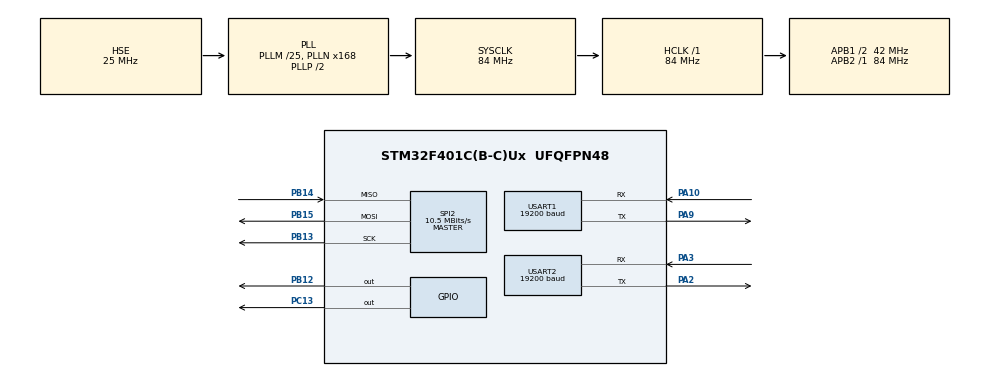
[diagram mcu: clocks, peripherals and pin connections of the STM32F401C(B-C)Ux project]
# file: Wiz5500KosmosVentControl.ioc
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Mcu.Family=STM32F4
Mcu.Name=STM32F401C(B-C)Ux
Mcu.Package=UFQFPN48
NVIC.PriorityGroup=NVIC_PRIORITYGROUP_4
NVIC.USART1_IRQn=true\:0\:0\:false\:false\:true\:true\:true
NVIC.USART2_IRQn=true\:0\:0\:false\:false\:true\:true\:true
PA10.Mode=Asynchronous
PA10.Signal=USART1_RX
PA13.Mode=Serial_Wire
PA13.Signal=SYS_JTMS-SWDIO
PA14.Mode=Serial_Wire
PA14.Signal=SYS_JTCK-SWCLK
PA2.Mode=Asynchronous
PA2.Signal=USART2_TX
PA3.Mode=Asynchronous
PA3.Signal=USART2_RX
PA9.Mode=Asynchronous
PA9.Signal=USART1_TX
PB12.Signal=GPIO_Output
PB13.Mode=Full_Duplex_Master
PB13.Signal=SPI2_SCK
PB14.Mode=Full_Duplex_Master
PB14.Signal=SPI2_MISO
PB15.Mode=Full_Duplex_Master
PB15.Signal=SPI2_MOSI
PC13-ANTI_TAMP.Signal=GPIO_Output
PH0\ -\ OSC_IN.Mode=HSE-External-Oscillator
PH0\ -\ OSC_IN.Signal=RCC_OSC_IN
PH1\ -\ OSC_OUT.Mode=HSE-External-Oscillator
PH1\ -\ OSC_OUT.Signal=RCC_OSC_OUT
ProjectManager.HeapSize=0x200
ProjectManager.StackSize=0x400
ProjectManager.TargetToolchain=STM32CubeIDE
RCC.48MHZClocksFreq_Value=42000000
RCC.AHBFreq_Value=84000000
RCC.APB1CLKDivider=RCC_HCLK_DIV2
RCC.APB1Freq_Value=42000000
RCC.APB1TimFreq_Value=84000000
RCC.APB2Freq_Value=84000000
RCC.APB2TimFreq_Value=84000000
RCC.CortexFreq_Value=84000000
RCC.HCLKFreq_Value=84000000
RCC.HSE_VALUE=25000000
RCC.HSI_VALUE=16000000
RCC.LSE_VALUE=32768
RCC.PLLM=25
RCC.PLLN=168
RCC.PLLSourceVirtual=RCC_PLLSOURCE_HSE
RCC.SYSCLKFreq_VALUE=84000000
RCC.SYSCLKSource=RCC_SYSCLKSOURCE_PLLCLK
RCC.VCOOutputFreq_Value=168000000
SPI2.BaudRatePrescaler=SPI_BAUDRATEPRESCALER_4
SPI2.CalculateBaudRate=10.5 MBits/s
SPI2.Direction=SPI_DIRECTION_2LINES
SPI2.Mode=SPI_MODE_MASTER
SPI2.VirtualType=VM_MASTER
USART1.BaudRate=19200
USART1.VirtualMode=VM_ASYNC
USART2.BaudRate=19200
USART2.VirtualMode=VM_ASYNC
board=custom

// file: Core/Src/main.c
/* USER CODE BEGIN Header */
/**
  ******************************************************************************
  * @file           : main.c
  * @brief          : Main program body
  ******************************************************************************
  * @attention
  *
  * <h2><center>&copy; Copyright (c) 2021 STMicroelectronics.
  * All rights reserved.</center></h2>
  *
  * This software component is licensed by ST under BSD 3-Clause license,
  * the "License"; You may not use this file except in compliance with the
  * License. You may obtain a copy of the License at:
  *                        opensource.org/licenses/BSD-3-Clause
  *
  ******************************************************************************
  */
/* USER CODE END Header */
#include "main.h"
#include "spi.h"
#include "usart.h"
#include "gpio.h"

/* USER CODE BEGIN Includes */
#include "socket.h"
#include "MQTTClient.h"
#include <string.h>
#include <stdlib.h>
#include "dhcp.h"
#include <stdbool.h>
/* USER CODE END Includes */

/* USER CODE BEGIN PD */
//Socket number defines
#define TCP_SOCKET	1
#define DHCP_SOCKET	0
//Receive Buffer Size define
#define BUFFER_SIZE			2048
#define _MODBUS_MES_SIZE	64
#define	_U3_MES_SIZE		10
#define FLG_SETPOINT		1
#define FLG_STATE			2
#define FLG_FAN				3
typedef struct {
	uint16_t rxIndex;
	uint8_t rxBuf[_MODBUS_MES_SIZE];
	uint32_t rxTime;
} myMes;
/* USER CODE END PD */

/* USER CODE BEGIN PV */
//Global variables
uint16_t new_setpoint=0;
uint16_t new_state=0;
uint16_t new_fan =1;
uint8_t flag_arrived=0;
unsigned char targetIP[4] = {194,8,130,147}; // mqtt server IP
unsigned int targetPort = 1883; // mqtt server port
//uint8_t mac_address[6] = {};
wiz_NetInfo gWIZNETINFO = { //.mac = {0x00, 0x08, 0xdc, 0xab, 0xcd, 0xef}, //user MAC
							.mac = {0x00, 0x18, 0x7c, 0x01, 0x9c, 0x2a}, //user MAC
							//.ip = /*{192,168,0,70},//*/{185,126,182,24}, //user IP
							//.sn = {255,255,255,0},
							//.gw = {185,126,182,1},
							.dhcp = NETINFO_DHCP
							};

// 1K should be enough, see https://forum.wiznet.io/t/topic/1612/2
uint8_t dhcp_buffer[1024];
volatile bool ip_assigned = false;

unsigned char tempBuffer[BUFFER_SIZE] = {};

struct opts_struct
{
	char* clientid;
	int nodelimiter;
	char* delimiter;
	enum QoS qos;
	char* username;
	char* password;
	char* host;
	int port;
	int showtopics;
} opts ={ (char*)"stdout-subscriber", 0, (char*)"\n", QOS0, (char*)"kvit", (char*)"20281174", (char*)targetIP, 1883, 0 };
char msg[60];

myMes m1;
myMes m2;
uint8_t b1;
uint8_t b2;

/* USER CODE END PV */

void SystemClock_Config(void);
/* USER CODE BEGIN PFP */
// включить модуль W5500 сигналом SCNn=0
void cs_sel()
{
    HAL_GPIO_WritePin(GPIOB, GPIO_PIN_12, GPIO_PIN_RESET); //CS LOW
}

// выключить модуль W5500 сигналом SCNn=1
void cs_desel()
{
    HAL_GPIO_WritePin(GPIOB, GPIO_PIN_12, GPIO_PIN_SET); //CS HIGH
}

// принять байт через SPI
uint8_t spi_rb(void)
{
    uint8_t rbuf;
    HAL_SPI_Receive(&hspi2, &rbuf, 1, 0xFFFFFFFF);
    return rbuf;
}

// передать байт через SPI
void spi_wb(uint8_t b)
{
    HAL_SPI_Transmit(&hspi2, &b, 1, 0xFFFFFFFF);
}

void W5500_ReadBuff(uint8_t* buff, uint16_t len) {
    HAL_SPI_Receive(&hspi2, buff, len, HAL_MAX_DELAY);
}

void W5500_WriteBuff(uint8_t* buff, uint16_t len) {
    HAL_SPI_Transmit(&hspi2, buff, len, HAL_MAX_DELAY);
}

void Callback_IPAssigned(void) {
    //UART_Printf("Callback: IP assigned! Leased time: %d sec\r\n", getDHCPLeasetime());
    ip_assigned = true;
}

void Callback_IPConflict(void) {
    //UART_Printf("Callback: IP conflict!\r\n");
}

void messageArrived(MessageData* md)
{
	//unsigned char testbuffer[100];
	MQTTMessage* message = md->message;
	char tmp_buf[30];

	memset(tmp_buf,0,30);
	memcpy(tmp_buf, md->topicName->lenstring.data,md->topicName->lenstring.len);
	if(memcmp(tmp_buf, "Vent1/set/setpoint", md->topicName->lenstring.len) == 0)
	{
		memset(tmp_buf,0,30);
		memcpy(tmp_buf, message->payload, message->payloadlen);
		flag_arrived = FLG_SETPOINT;
		new_setpoint = (uint16_t)(atof(tmp_buf)*10);
	}
	else if(memcmp(tmp_buf, "Vent1/set/state", md->topicName->lenstring.len) == 0)
		{
			memset(tmp_buf,0,30);
			memcpy(tmp_buf, message->payload, message->payloadlen);
			flag_arrived = FLG_STATE;
			new_state = (uint16_t)(atof(tmp_buf));
		}
	else if(memcmp(tmp_buf, "Vent1/set/fan", md->topicName->lenstring.len) == 0)
			{
				memset(tmp_buf,0,30);
				memcpy(tmp_buf, message->payload, message->payloadlen);
				flag_arrived = FLG_FAN;
				new_fan = (uint16_t)(atof(tmp_buf));
			}

}

void trace(int nb, const char* buf)
{
	if(nb < 0)
	{
		//HAL_UART_Transmit(&huart1, (uint8_t*)buf, strlen(buf), 0xFFFF);
	}
}
/* USER CODE END PFP */

/* USER CODE BEGIN 0 */
void HAL_UART_RxCpltCallback(UART_HandleTypeDef *UartHandle)
{

	switch((uint32_t)UartHandle->Instance)
	{
		case (uint32_t)USART1:

		  if(m1.rxIndex <_MODBUS_MES_SIZE - 1)
		      {
			  	m1.rxIndex++;
			    HAL_UART_Receive_IT(&huart1, &m1.rxBuf[m1.rxIndex],1);

		      }
		      else
		      {
		    	  HAL_UART_Receive_IT(&huart1, &b1,1);
		      }
		    	m1.rxTime = HAL_GetTick();

		break;

		case (uint32_t)USART2:

				if(m2.rxIndex <_MODBUS_MES_SIZE - 1)
				{
					m2.rxIndex++;
					HAL_UART_Receive_IT(&huart2, &m2.rxBuf[m2.rxIndex],1);

				}
				else
				{
					HAL_UART_Receive_IT(&huart2, &b2,1);
				}
				m2.rxTime = HAL_GetTick();
				//xQueueSendFromISR( RecQHandleHandle, &m, &xHigherPriorityTaskWoken );
		break;

	}
}

uint16_t receiveRaw(UART_HandleTypeDef *huart, uint32_t timeout)
{
  uint32_t startTime = HAL_GetTick();
  while(1)
  {
    if(HAL_GetTick() - startTime > timeout)
      return 0;
    if(huart == &huart1)
    {
    	if((m1.rxIndex > 0) && (HAL_GetTick() - m1.rxTime > 2))
      return m1.rxIndex;
    }
    else if(huart == &huart2)
    {
    	if((m2.rxIndex > 0) && (HAL_GetTick() - m2.rxTime > 2))
      return m2.rxIndex;
    }
    HAL_Delay(1);
  }
}
//////////////CRC CALC/////////////////////
static const uint16_t wCRCTable[] =
{
  0X0000, 0XC0C1, 0XC181, 0X0140, 0XC301, 0X03C0, 0X0280, 0XC241,
  0XC601, 0X06C0, 0X0780, 0XC741, 0X0500, 0XC5C1, 0XC481, 0X0440,
  0XCC01, 0X0CC0, 0X0D80, 0XCD41, 0X0F00, 0XCFC1, 0XCE81, 0X0E40,
  0X0A00, 0XCAC1, 0XCB81, 0X0B40, 0XC901, 0X09C0, 0X0880, 0XC841,
  0XD801, 0X18C0, 0X1980, 0XD941, 0X1B00, 0XDBC1, 0XDA81, 0X1A40,
  0X1E00, 0XDEC1, 0XDF81, 0X1F40, 0XDD01, 0X1DC0, 0X1C80, 0XDC41,
  0X1400, 0XD4C1, 0XD581, 0X1540, 0XD701, 0X17C0, 0X1680, 0XD641,
  0XD201, 0X12C0, 0X1380, 0XD341, 0X1100, 0XD1C1, 0XD081, 0X1040,
  0XF001, 0X30C0, 0X3180, 0XF141, 0X3300, 0XF3C1, 0XF281, 0X3240,
  0X3600, 0XF6C1, 0XF781, 0X3740, 0XF501, 0X35C0, 0X3480, 0XF441,
  0X3C00, 0XFCC1, 0XFD81, 0X3D40, 0XFF01, 0X3FC0, 0X3E80, 0XFE41,
  0XFA01, 0X3AC0, 0X3B80, 0XFB41, 0X3900, 0XF9C1, 0XF881, 0X3840,
  0X2800, 0XE8C1, 0XE981, 0X2940, 0XEB01, 0X2BC0, 0X2A80, 0XEA41,
  0XEE01, 0X2EC0, 0X2F80, 0XEF41, 0X2D00, 0XEDC1, 0XEC81, 0X2C40,
  0XE401, 0X24C0, 0X2580, 0XE541, 0X2700, 0XE7C1, 0XE681, 0X2640,
  0X2200, 0XE2C1, 0XE381, 0X2340, 0XE101, 0X21C0, 0X2080, 0XE041,
  0XA001, 0X60C0, 0X6180, 0XA141, 0X6300, 0XA3C1, 0XA281, 0X6240,
  0X6600, 0XA6C1, 0XA781, 0X6740, 0XA501, 0X65C0, 0X6480, 0XA441,
  0X6C00, 0XACC1, 0XAD81, 0X6D40, 0XAF01, 0X6FC0, 0X6E80, 0XAE41,
  0XAA01, 0X6AC0, 0X6B80, 0XAB41, 0X6900, 0XA9C1, 0XA881, 0X6840,
  0X7800, 0XB8C1, 0XB981, 0X7940, 0XBB01, 0X7BC0, 0X7A80, 0XBA41,
  0XBE01, 0X7EC0, 0X7F80, 0XBF41, 0X7D00, 0XBDC1, 0XBC81, 0X7C40,
  0XB401, 0X74C0, 0X7580, 0XB541, 0X7700, 0XB7C1, 0XB681, 0X7640,
  0X7200, 0XB2C1, 0XB381, 0X7340, 0XB101, 0X71C0, 0X7080, 0XB041,
  0X5000, 0X90C1, 0X9181, 0X5140, 0X9301, 0X53C0, 0X5280, 0X9241,
  0X9601, 0X56C0, 0X5780, 0X9741, 0X5500, 0X95C1, 0X9481, 0X5440,
  0X9C01, 0X5CC0, 0X5D80, 0X9D41, 0X5F00, 0X9FC1, 0X9E81, 0X5E40,
  0X5A00, 0X9AC1, 0X9B81, 0X5B40, 0X9901, 0X59C0, 0X5880, 0X9841,
  0X8801, 0X48C0, 0X4980, 0X8941, 0X4B00, 0X8BC1, 0X8A81, 0X4A40,
  0X4E00, 0X8EC1, 0X8F81, 0X4F40, 0X8D01, 0X4DC0, 0X4C80, 0X8C41,
  0X4400, 0X84C1, 0X8581, 0X4540, 0X8701, 0X47C0, 0X4680, 0X8641,
  0X8201, 0X42C0, 0X4380, 0X8341, 0X4100, 0X81C1, 0X8081, 0X4040
};
uint16_t modbus_crc16(const uint8_t *nData, uint16_t wLength)
{
  uint8_t nTemp;
  uint16_t wCRCWord = 0xFFFF;
  while (wLength--)
  {
    nTemp = *nData++ ^ wCRCWord;
    wCRCWord >>= 8;
    wCRCWord  ^= wCRCTable[nTemp];
  }
  return wCRCWord;
}
/////////////////////////////////
uint8_t set_setpoint(uint16_t setpoint)
{
	if(setpoint < 0 || setpoint > 350)
	{
		return 0;
	}
	uint8_t txData[8];
	uint8_t recByte=0;
	uint8_t equal = 0;
	txData[0] = 0x01;//slave address
	txData[1] = 0x06; // function code
	txData[2] = 0x00;// Hi byte of register address
	txData[3] = 0x90;// Low byte of register address
	txData[4] = (setpoint & 0xFF00) >> 8;// Hi byte of register value
	txData[5] = (setpoint & 0x00FF);// Low byte of register address
	static uint16_t  crc;
	crc = modbus_crc16(txData, 6);
	txData[6] = (crc & 0x00FF);
	txData[7] = (crc & 0xFF00) >> 8;
	HAL_UART_Transmit(&huart2, txData, 8 , 160);
	recByte = receiveRaw(&huart2,100);
	if(recByte==8)
	{

		for(int i=0;i<recByte; ++i)
		{
			if(m2.rxBuf[i] != txData[i])
			{
				equal = 1;
				break;
			}
		}
	}
	m2.rxIndex = 0;
	HAL_UART_Receive_IT(&huart2, &m2.rxBuf[m2.rxIndex],1);
	return equal;
}
uint8_t set_state(uint16_t state)
{
	if(state < 0 || state >2)
	{
		return 0;
	}
	uint8_t txData[8];
	uint8_t recByte=0;
	uint8_t equal = 0;
	txData[0] = 0x01;//slave address
	txData[1] = 0x06; // function code
	txData[2] = 0x00;// Hi byte of register address
	txData[3] = 0x8F;// Low byte of register address
	txData[4] = (state & 0xFF00) >> 8;// Hi byte of register value
	txData[5] = (state & 0x00FF);// Low byte of register address
	static uint16_t  crc;
	crc = modbus_crc16(txData, 6);
	txData[6] = (crc & 0x00FF);
	txData[7] = (crc & 0xFF00) >> 8;
	HAL_UART_Transmit(&huart2, txData, 8 , 160);
	recByte = receiveRaw(&huart2,100);
	if(recByte==8)
	{

		for(int i=0;i<recByte; ++i)
		{
			if(m2.rxBuf[i] != txData[i])
			{
				equal = 1;
				break;
			}
		}
	}
	m2.rxIndex = 0;
	HAL_UART_Receive_IT(&huart2, &m2.rxBuf[m2.rxIndex],1);
	return equal;
}
uint8_t set_fan(uint16_t fan)
{
	if(fan < 1 || fan >3)
	{
		return 0;
	}
	uint8_t txData[8];
	uint8_t recByte=0;
	uint8_t equal = 0;
	txData[0] = 0x01;//slave address
	txData[1] = 0x06; // function code
	txData[2] = 0x00;// Hi byte of register address
	txData[3] = 0x8D;// Low byte of register address
	txData[4] = (fan & 0xFF00) >> 8;// Hi byte of register value
	txData[5] = (fan & 0x00FF);// Low byte of register address
	static uint16_t  crc;
	crc = modbus_crc16(txData, 6);
	txData[6] = (crc & 0x00FF);
	txData[7] = (crc & 0xFF00) >> 8;
	HAL_UART_Transmit(&huart2, txData, 8 , 160);
	recByte = receiveRaw(&huart2,100);
	if(recByte==8)
	{

		for(int i=0;i<recByte; ++i)
		{
			if(m2.rxBuf[i] != txData[i])
			{
				equal = 1;
				break;
			}
		}
	}
	m2.rxIndex = 0;
	HAL_UART_Receive_IT(&huart2, &m2.rxBuf[m2.rxIndex],1);
	return equal;
}
/* USER CODE END 0 */

int main(void)
{

  /* MCU Configuration--------------------------------------------------------*/

  /* Reset of all peripherals, Initializes the Flash interface and the Systick. */
  HAL_Init();

  /* Configure the system clock */
  SystemClock_Config();

  /* Initialize all configured peripherals */
  MX_GPIO_Init();
  MX_SPI2_Init();
  MX_USART1_UART_Init();
  MX_USART2_UART_Init();
  /* USER CODE BEGIN 2 */
  m1.rxIndex = 0;
  HAL_UART_Receive_IT(&huart1, &m1.rxBuf[m1.rxIndex],1);
  m2.rxIndex = 0;
  HAL_UART_Receive_IT(&huart2, &m2.rxBuf[m2.rxIndex],1);
  reg_wizchip_cs_cbfunc(cs_sel, cs_desel);
  reg_wizchip_spi_cbfunc(spi_rb, spi_wb);
  reg_wizchip_spiburst_cbfunc(W5500_ReadBuff, W5500_WriteBuff);
  uint8_t bufSize[] = {2, 2, 2, 2, 2, 2, 2, 2};
  wizchip_init(bufSize, bufSize);
  ////////////////////////////////////////////////////////////
  // set MAC address before using DHCP
      setSHAR(gWIZNETINFO.mac);
      DHCP_init(DHCP_SOCKET, dhcp_buffer);

      //UART_Printf("Registering DHCP callbacks...\r\n");
      reg_dhcp_cbfunc(
          Callback_IPAssigned,
          Callback_IPAssigned,
          Callback_IPConflict
      );

      //UART_Printf("Calling DHCP_run()...\r\n");
      // actually should be called in a loop, e.g. by timer
      uint32_t ctr = 10000;
      while((!ip_assigned) && (ctr > 0)) {
          DHCP_run();
          HAL_Delay(200);
          ctr--;
      }
     /* if(!ip_assigned) {
          //UART_Printf("\r\nIP was not assigned :(\r\n");
          return;
      }*/

      getIPfromDHCP(gWIZNETINFO.ip);
      getGWfromDHCP(gWIZNETINFO.gw);
      getSNfromDHCP(gWIZNETINFO.sn);

      /*uint8_t dns[4];
      getDNSfromDHCP(dns);

      UART_Printf("IP:  %d.%d.%d.%d\r\nGW:  %d.%d.%d.%d\r\nNet: %d.%d.%d.%d\r\nDNS: %d.%d.%d.%d\r\n",
          net_info.ip[0], net_info.ip[1], net_info.ip[2], net_info.ip[3],
          net_info.gw[0], net_info.gw[1], net_info.gw[2], net_info.gw[3],
          net_info.sn[0], net_info.sn[1], net_info.sn[2], net_info.sn[3],
          dns[0], dns[1], dns[2], dns[3]
      );

      UART_Printf("Calling wizchip_setnetinfo()...\r\n");
      wizchip_setnetinfo(&net_info);*/
  ///////////////////////////////////////////////////////////
  wizchip_setnetinfo(&gWIZNETINFO);
  wizchip_getnetinfo(&gWIZNETINFO);

  	Network n;
  	MQTTClient c;
  	unsigned char buf[100];
  	int rc = 0;
  	NewNetwork(&n, TCP_SOCKET);
  	MQTTPacket_connectData data = MQTTPacket_connectData_initializer;
  	uint32_t startTime;
m1:	startTime = HAL_GetTick();//today
  	do{
  		ConnectNetwork(&n, targetIP, targetPort);
  		MQTTClientInit(&c,&n,1000,buf,100,tempBuffer,2048);

  		data.willFlag = 0;
  		data.MQTTVersion = 3;
  		data.clientID.cstring = opts.clientid;
  		data.username.cstring = opts.username;
  		data.password.cstring = opts.password;

  		data.keepAliveInterval = 60;
  		data.cleansession = 1;

  		rc = MQTTConnect(&c, &data);
  		if((HAL_GetTick() - startTime) > 10)//today
  		{
  			break;
  		}
  		//memset(msg,0,60);
  		//sprintf(msg,"Connected %d\r\n", rc);
  		//trace(-1, (const char*)msg);
  	}while(rc);
  	opts.showtopics = 1;

  	//memset(msg,0,60);
  	//sprintf(msg,"Subscribing to %s\r\n", "hello/wiznet");
  	//trace(-1, (const char*)msg);
  	if(!rc)
  	{
		startTime = HAL_GetTick();//today
  		do{
			rc = MQTTSubscribe(&c, "Vent1/set/#", opts.qos, messageArrived);
			//memset(msg,0,60);
			//sprintf(msg,"Subscribed %d\r\n", rc);
			//trace(-1, (const char*)msg);
			if((HAL_GetTick() - startTime) > 10)//today
			{
			 	break;
			}
		}while(rc);
	}
  	if(rc){
  		HAL_GPIO_WritePin(GPIOC, GPIO_PIN_13, GPIO_PIN_SET);
  	}else{
  		HAL_GPIO_WritePin(GPIOC, GPIO_PIN_13, GPIO_PIN_RESET);

  	}
  	MQTTMessage mes;
  	char payload[32]={0};
  	mes.payload = payload;
  	sprintf(payload, "IP:%3d.%3d.%3d.%3d", gWIZNETINFO.ip[0], gWIZNETINFO.ip[1], gWIZNETINFO.ip[2], gWIZNETINFO.ip[3]);
  	//memcpy(payload,"Connected!",strlen("Connected!"));
  	mes.payloadlen = 19;//strlen("Connected!");
  	if(!rc)//today
  	{
  		MQTTPublish(&c, "hello/stm32", &mes);
  	}
  	mes.qos = QOS0;
  	uint32_t count =0;
  /* USER CODE END 2 */

  /* Infinite loop */
  /* USER CODE BEGIN WHILE */
  while (1)
  {

	  //MQTTPublish(&c, "hello/stm32", &mes);
	  //HAL_Delay(1000);
	  uint16_t recByte = receiveRaw(&huart1,100);
	  if(recByte){
		  if(!rc)
		  {
			  if(m1.rxBuf[0] == 0x01 && m1.rxBuf[1] == 0x06 && m1.rxBuf[2] == 0x00 && m1.rxBuf[3] == 0xB5)
			  {
				  sprintf(payload, "%d.%d", ((int16_t) (m1.rxBuf[4] << 8) | m1.rxBuf[5])/10, ((int16_t) (m1.rxBuf[4] << 8) | m1.rxBuf[5])%10);
				  mes.payloadlen = strlen((const char*)payload);
				  rc = MQTTPublish(&c, "Vent1/Ts", &mes);
			  }
			  if(m1.rxBuf[0] == 0x01 && m1.rxBuf[1] == 0x06 && m1.rxBuf[2] == 0x00 && m1.rxBuf[3] == 0xB9)
					  {
						  sprintf(payload, "%d.%d", ((int16_t) (m1.rxBuf[4] << 8) | m1.rxBuf[5])/10, ((int16_t) (m1.rxBuf[4] << 8) | m1.rxBuf[5])%10);
						  mes.payloadlen = strlen((const char*)payload);
						  rc = MQTTPublish(&c, "Vent1/Tf", &mes);
					  }
			  if(m1.rxBuf[0] == 0x01 && m1.rxBuf[1] == 0x06 && m1.rxBuf[2] == 0x00 && m1.rxBuf[3] == 0xC2)
					  {
						  sprintf(payload, "%d.%d", ((int16_t) (m1.rxBuf[4] << 8) | m1.rxBuf[5])/10,((int16_t) (m1.rxBuf[4] << 8) | m1.rxBuf[5])%10 );
						  mes.payloadlen = strlen((const char*)payload);
						  rc = MQTTPublish(&c, "Vent1/To", &mes);
					  }
			  if(m1.rxBuf[0] == 0x01 && m1.rxBuf[1] == 0x06 && m1.rxBuf[2] == 0x00 && m1.rxBuf[3] == 0x9D)
					  {
						  sprintf(payload, "%d.%d", ((int16_t) (m1.rxBuf[4] << 8) | m1.rxBuf[5])/10, ((int16_t) (m1.rxBuf[4] << 8) | m1.rxBuf[5])%10);
						  mes.payloadlen = strlen((const char*)payload);
						  rc = MQTTPublish(&c, "Vent1/Tlcd", &mes);
					  }
			  if(m1.rxBuf[0] == 0x01 && m1.rxBuf[1] == 0x06 && m1.rxBuf[2] == 0x00 && m1.rxBuf[3] == 0xC6)
					  {
						  sprintf(payload, "%d", (int16_t) (m1.rxBuf[4] << 8) | m1.rxBuf[5]);
						  mes.payloadlen = strlen((const char*)payload);
						  rc = MQTTPublish(&c, "Vent1/Alarm", &mes);
					  }
		  }
		  HAL_UART_Transmit(&huart2, (uint8_t *)&m1.rxBuf[0], m1.rxIndex , 160);
		  m1.rxIndex = 0;
		  HAL_UART_Receive_IT(&huart1, &m1.rxBuf[m1.rxIndex],1);
	  }
	  recByte = receiveRaw(&huart2,100);
	  if(recByte)
	  {
		  if(!rc)
		  {
				  if(m2.rxBuf[0] == 0x01 && m2.rxBuf[1] == 0x03 && m2.rxBuf[2] == 0x1C)
					  {
						  sprintf(payload, "%d.%d", ((int16_t) (m2.rxBuf[29] << 8) | m2.rxBuf[30])/10,((int16_t) (m2.rxBuf[29] << 8) | m2.rxBuf[30])%10);
						  mes.payloadlen = strlen((const char*)payload);
						  rc = MQTTPublish(&c, "Vent1/Tset", &mes);
					  }
				if(m2.rxBuf[0] == 0x01 && m2.rxBuf[1] == 0x03 && m2.rxBuf[2] == 0x1C)
					  {
						  sprintf(payload, "%d", (int16_t) (m2.rxBuf[27] << 8) | m2.rxBuf[28]);
						  mes.payloadlen = strlen((const char*)payload);
						  rc = MQTTPublish(&c, "Vent1/State", &mes);
					  }
				if(m2.rxBuf[0] == 0x01 && m2.rxBuf[1] == 0x03 && m2.rxBuf[2] == 0x1C)
					  {
						  sprintf(payload, "%d", (int16_t) (m2.rxBuf[23] << 8) | m2.rxBuf[24]);
						  mes.payloadlen = strlen((const char*)payload);
						  rc = MQTTPublish(&c, "Vent1/Fan", &mes);
					  }
				if(m2.rxBuf[0] == 0x01 && m2.rxBuf[1] == 0x03 && m2.rxBuf[2] == 0x1C)
					  {
						  sprintf(payload, "%d", (int16_t) (m2.rxBuf[21] << 8) | m2.rxBuf[22]);
						  mes.payloadlen = strlen((const char*)payload);
						  rc = MQTTPublish(&c, "Vent1/Mode", &mes);
					  }
		  }
	  	  HAL_UART_Transmit(&huart1, (uint8_t *)&m2.rxBuf[0], m2.rxIndex , 160);
	  	  m2.rxIndex = 0;
	  	  HAL_UART_Receive_IT(&huart2, &m2.rxBuf[m2.rxIndex],1);
	  }
	  if(!rc) MQTTYield(&c, data.keepAliveInterval);//today
	  if(flag_arrived == FLG_SETPOINT)
	  {
		  if(set_setpoint(new_setpoint) == 0)
		  {
			  flag_arrived =0;
		  }
	  }
	  else if(flag_arrived == FLG_STATE)
	  {
		  if(set_state(new_state) == 0)
		  {
			  flag_arrived =0;
		  }
	  }
	  else if(flag_arrived == FLG_FAN)
	  	  {
	  		  if(set_fan(new_fan) == 0)
	  		  {
	  			  flag_arrived =0;
	  		  }
	  	  }
	  ++count;
	  if(rc){
	    		HAL_GPIO_WritePin(GPIOC, GPIO_PIN_13, GPIO_PIN_SET);
	    	}else{
	    		HAL_GPIO_WritePin(GPIOC, GPIO_PIN_13, GPIO_PIN_RESET);
	    	}
	  if(rc && (count > 255)) goto m1;//today 2^25

    /* USER CODE END WHILE */

  }
}

void SystemClock_Config(void)
{
  RCC_OscInitTypeDef RCC_OscInitStruct = {0};
  RCC_ClkInitTypeDef RCC_ClkInitStruct = {0};

  /** Configure the main internal regulator output voltage
  */
  __HAL_RCC_PWR_CLK_ENABLE();
  __HAL_PWR_VOLTAGESCALING_CONFIG(PWR_REGULATOR_VOLTAGE_SCALE2);
  /** Initializes the RCC Oscillators according to the specified parameters
  * in the RCC_OscInitTypeDef structure.
  */
  RCC_OscInitStruct.OscillatorType = RCC_OSCILLATORTYPE_HSE;
  RCC_OscInitStruct.HSEState = RCC_HSE_ON;
  RCC_OscInitStruct.PLL.PLLState = RCC_PLL_ON;
  RCC_OscInitStruct.PLL.PLLSource = RCC_PLLSOURCE_HSE;
  RCC_OscInitStruct.PLL.PLLM = 25;
  RCC_OscInitStruct.PLL.PLLN = 168;
  RCC_OscInitStruct.PLL.PLLP = RCC_PLLP_DIV2;
  RCC_OscInitStruct.PLL.PLLQ = 4;
  if (HAL_RCC_OscConfig(&RCC_OscInitStruct) != HAL_OK)
  {
    Error_Handler();
  }
  /** Initializes the CPU, AHB and APB buses clocks
  */
  RCC_ClkInitStruct.ClockType = RCC_CLOCKTYPE_HCLK|RCC_CLOCKTYPE_SYSCLK
                              |RCC_CLOCKTYPE_PCLK1|RCC_CLOCKTYPE_PCLK2;
  RCC_ClkInitStruct.SYSCLKSource = RCC_SYSCLKSOURCE_PLLCLK;
  RCC_ClkInitStruct.AHBCLKDivider = RCC_SYSCLK_DIV1;
  RCC_ClkInitStruct.APB1CLKDivider = RCC_HCLK_DIV2;
  RCC_ClkInitStruct.APB2CLKDivider = RCC_HCLK_DIV1;

  if (HAL_RCC_ClockConfig(&RCC_ClkInitStruct, FLASH_LATENCY_2) != HAL_OK)
  {
    Error_Handler();
  }
}

void Error_Handler(void)
{
  __disable_irq();
  while (1)
  {
  }
}

/************************ (C) COPYRIGHT STMicroelectronics *****END OF FILE****/
